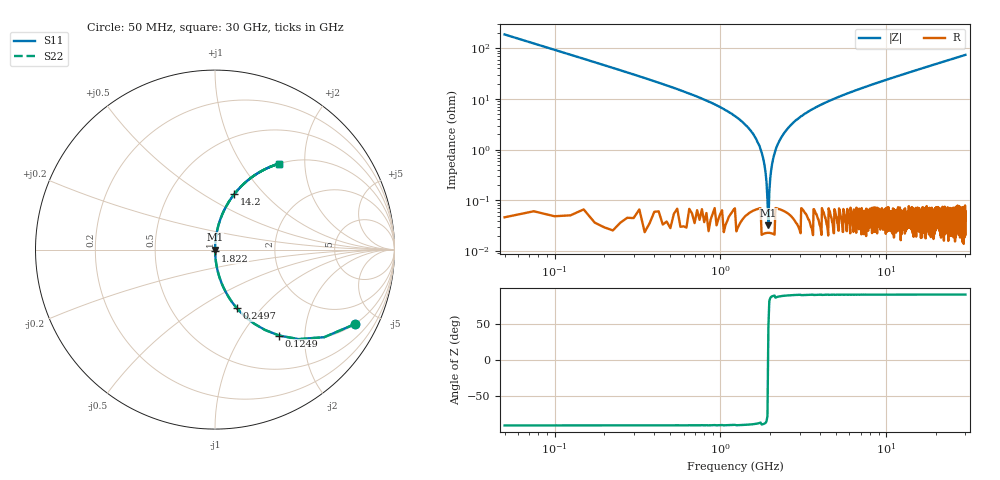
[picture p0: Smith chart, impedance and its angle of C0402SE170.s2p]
!	AVX Thin Film Operation 	Date: April 2014
!	Description: Accu-P® Series, Thin Film  SMD RF Capacitor
!	Part Number: 04023K170FBSTR
# MHZ S MA R 50
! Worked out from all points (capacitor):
!   1201 points, 50 MHz to 30 GHz, reference 50 ohm
!   read as one part in series: C = 17 pF near 199.8 MHz
!   lowest |Z| = 32.4 mohm at 1.947 GHz (marker M1)
!   series resonance near 1.942 GHz, so ESL is about 400 pH
!   S11 on the Smith chart (normalised r, x): 50 MHz: 1.00, -3.74; 124.9 MHz: 1.00, -1.49; 249.7 MHz: 1.00, -0.74; 1.822 GHz: 1.00, -0.01; 14.2 GHz: 1.00, +0.69; 30 GHz: 1.00, +1.48
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50  0.882 -28.1  0.471 61.9  0.471 61.9  0.882 -28.1
124.875  0.598 -53.2  0.801 36.7  0.801 36.7  0.598 -53.2
249.667  0.346 -69.7  0.938 20.2  0.938 20.2  0.346 -69.7
374.458  0.234 -76.4  0.972 13.5  0.972 13.5  0.234 -76.4
649  0.127 -82.5  0.991 7.3  0.991 7.3  0.127 -82.5
1497.583  0.025 -87.5  0.999 1.5  0.999 1.5  0.025 -87.5
1697.25  0.013 -87.2  0.999 0.7  0.999 0.7  0.013 -87.2
1822.042  0.006176 -85.4  1 0.4  1 0.4  0.006176 -85.4
1946.833  0.0005137 26.4  1 -0.0  1 -0.0  0.0005137 26.4
2046.667  0.005071 84.5  1 -0.3  1 -0.3  0.005071 84.5
2146.5  0.009664 86.7  0.999 -0.6  0.999 -0.6  0.009664 86.7
2271.292  0.015 87.4  0.999 -0.9  0.999 -0.9  0.015 87.4
2470.958  0.023 87.5  0.999 -1.3  0.999 -1.3  0.023 87.5
2745.5  0.034 87.3  0.999 -1.9  0.999 -1.9  0.034 87.3
3619.042  0.064 85.9  0.998 -3.7  0.998 -3.7  0.064 85.9
5041.667  0.106 83.7  0.994 -6.1  0.994 -6.1  0.106 83.7
10058.29  0.234 76.4  0.972 -13.5  0.972 -13.5  0.234 76.4
14201.38  0.327 70.9  0.945 -19.1  0.945 -19.1  0.327 70.9
15025  0.344 69.8  0.938 -20.1  0.938 -20.1  0.344 69.8
20016.67  0.441 63.8  0.897 -26.2  0.897 -26.2  0.441 63.8
25033.29  0.525 58.3  0.851 -31.7  0.851 -31.7  0.525 58.3
30000  0.595 53.4  0.803 -36.5  0.803 -36.5  0.595 53.4
